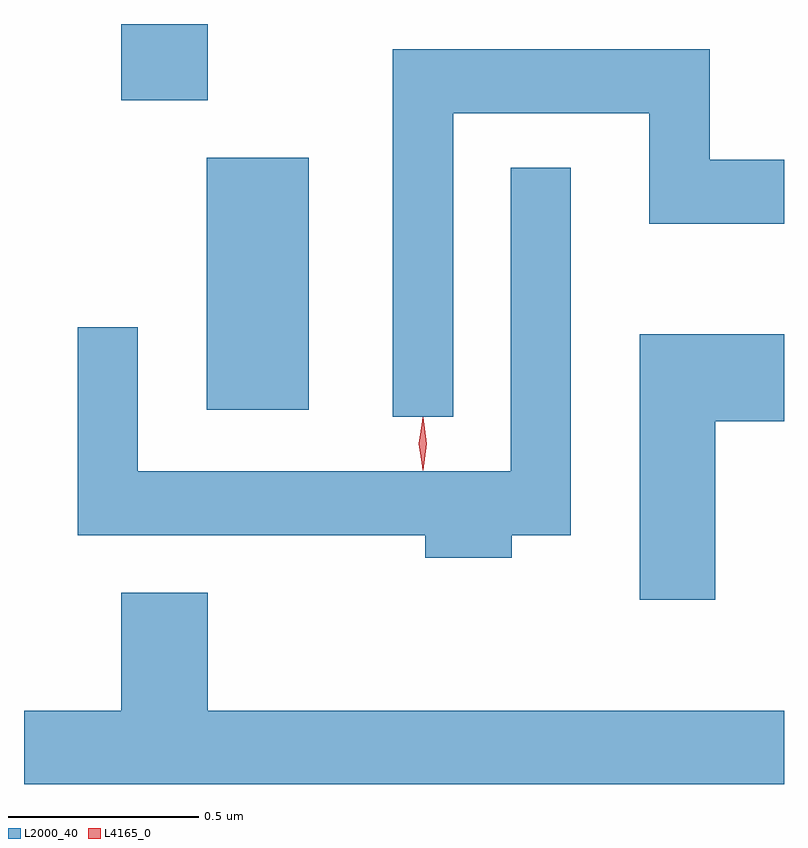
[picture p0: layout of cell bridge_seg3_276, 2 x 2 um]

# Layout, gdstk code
import gdstk
lib = gdstk.Library(unit=1e-6, precision=1e-09)
def R(c, l, rs):  # rectangles x0, y0, x1, y1
    for r in rs: c.add(gdstk.rectangle(r[:2], r[2:], *l))
def P(c, l, *ps):  # polygons
    for p in ps: c.add(gdstk.Polygon(p, *l))
L2000_40 = (2000, 40)
L4165_0 = (4165, 0)

bridge_seg3_276 = lib.new_cell('bridge_seg3_276')
R(bridge_seg3_276, L2000_40, [(1047.026,1135.956,1047.294,1136.619), (1046.801,1136.771,1047.029,1136.971)])
P(bridge_seg3_276, L2000_40, [(1047.674,1136.736),(1048.191,1136.736),(1048.191,1136.446),(1048.545,1136.446),(1048.545,1136.614),(1048.349,1136.614),(1048.349,1136.904),(1047.516,1136.904),(1047.516,1135.938),(1047.674,1135.938)],
  [(1047.829,1135.626),(1047.984,1135.626),(1047.984,1136.593),(1047.826,1136.593),(1047.826,1135.794),(1046.844,1135.794),(1046.844,1136.173),(1046.686,1136.173),(1046.686,1135.626),(1047.601,1135.626),(1047.601,1135.566),(1047.829,1135.566)],
  [(1048.364,1135.926),(1048.545,1135.926),(1048.545,1136.154),(1048.166,1136.154),(1048.166,1135.456),(1048.364,1135.456)],
  [(1048.545,1135.164),(1047.029,1135.164),(1047.029,1135.474),(1046.801,1135.474),(1046.801,1135.164),(1046.545,1135.164),(1046.545,1134.971),(1048.545,1134.971)])
P(bridge_seg3_276, L4165_0, [(1047.594,1135.797),(1047.585,1135.866),(1047.594,1135.936),(1047.595,1135.936),(1047.596,1135.936),(1047.605,1135.866),(1047.596,1135.797),(1047.595,1135.797)],
  [(1047.594,1135.799),(1047.594,1135.8),(1047.584,1135.866),(1047.594,1135.932),(1047.594,1135.933),(1047.595,1135.932),(1047.604,1135.866),(1047.595,1135.8)])

lib.write_gds('bridge_seg3_276.gds')
